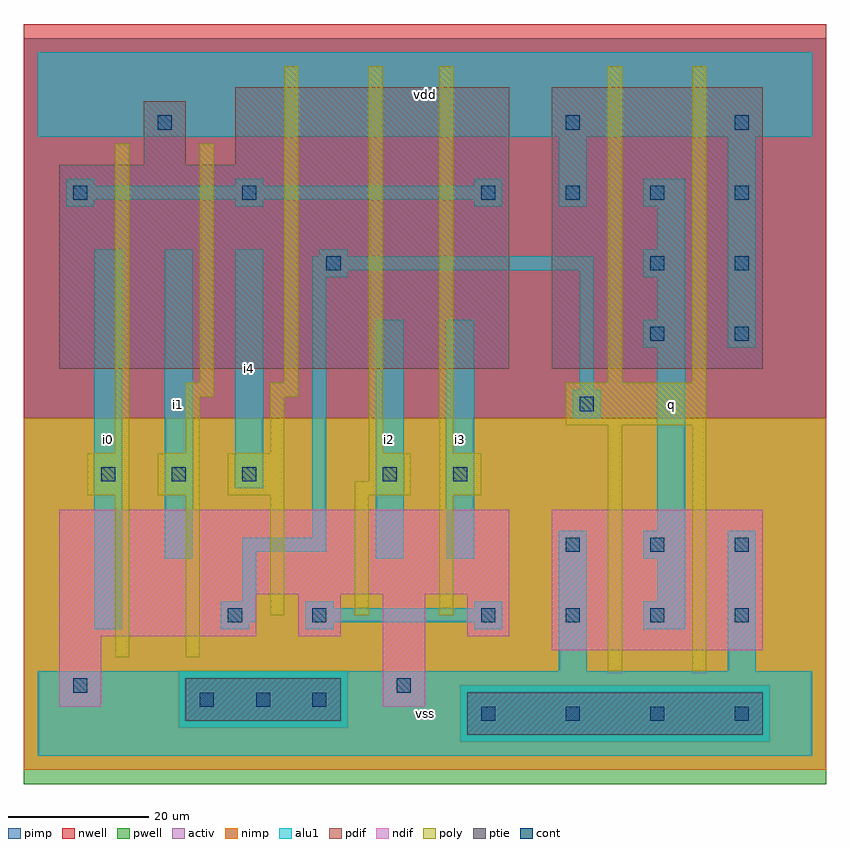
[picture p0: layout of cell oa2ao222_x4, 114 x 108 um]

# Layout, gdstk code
import gdstk
lib = gdstk.Library(unit=1e-6, precision=1e-09)
def R(c, l, rs):  # rectangles x0, y0, x1, y1
    for r in rs: c.add(gdstk.rectangle(r[:2], r[2:], *l))
def A(c, l, x, y, w, h, nx, ny, dx, dy):  # array of equal rectangles
    R(c, l, [(x+i*dx, y+j*dy, x+i*dx+w, y+j*dy+h) for i in range(nx) for j in range(ny)])
ndif = (3, 0)
pdif = (4, 0)
ptie = (6, 0)
cont = (25, 0)
pwell = (41, 0)
nwell = (42, 0)
activ = (43, 0)
pimp = (44, 0)
nimp = (45, 0)
poly = (46, 0)
alu1 = (49, 0)

oa2ao222_x4 = lib.new_cell('oa2ao222_x4')
R(oa2ao222_x4, ndif, [(3,7,9,17), (49,7,55,23), (73,15,103,35), (3,17,31,23), (37,17,43,23), (61,17,67,23), (3,23,67,35)])
R(oa2ao222_x4, pdif, [(3,55,67,84), (73,55,103,95), (15,84,21,93), (28,84,67,95)])
R(oa2ao222_x4, ptie, [(61,3,103,9), (21,5,43,11)])
A(oa2ao222_x4, cont, 63, 5, 2, 2, 4, 2, 12, 14)
A(oa2ao222_x4, cont, 23, 7, 2, 2, 3, 1, 8, 0)
A(oa2ao222_x4, cont, 75, 29, 2, 2, 3, 1, 12, 0)
A(oa2ao222_x4, cont, 9, 39, 2, 2, 3, 1, 10, 0)
A(oa2ao222_x4, cont, 63, 79, 2, 2, 4, 1, 12, 0)
R(oa2ao222_x4, cont, [(5,9,7,11), (51,9,53,11), (27,19,29,21), (39,19,41,21), (49,39,51,41), (59,39,61,41), (77,49,79,51), (87,59,89,61), (99,59,101,61), (41,69,43,71), (87,69,89,71), (99,69,101,71), (5,79,7,81), (29,79,31,81), (17,89,19,91), (75,89,77,91), (99,89,101,91)])
R(oa2ao222_x4, pwell, [(-2,-4,112,48)])
R(oa2ao222_x4, nwell, [(-2,48,112,104)])
R(oa2ao222_x4, activ, [(61,3,103,9), (21,5,43,11), (3,7,9,17), (49,7,55,23), (73,15,103,35), (3,17,31,23), (37,17,43,23), (61,17,67,23), (3,23,67,35), (3,55,67,84), (73,55,103,95), (15,84,21,93), (28,84,67,95)])
R(oa2ao222_x4, pimp, [(60,2,104,10), (20,4,44,12), (-2,48,112,102)])
R(oa2ao222_x4, nimp, [(-2,-2,112,2), (-2,2,60,4), (104,2,112,10), (-2,4,20,12), (44,4,60,10), (44,10,112,12), (-2,12,112,48)])
A(oa2ao222_x4, poly, 33, 20, 2, 17, 3, 1, 12, 0)
R(oa2ao222_x4, poly, [(81,12,83,47), (93,12,95,47), (11,14,13,37), (21,14,23,37), (7,37,13,43), (17,37,23,43), (27,37,35,43), (45,37,53,39), (57,37,63,43), (47,39,53,43), (11,43,13,87), (21,43,23,51), (33,43,35,51), (47,43,49,98), (57,43,59,98), (75,47,95,53), (21,51,25,53), (33,51,37,53), (23,53,25,87), (35,53,37,98), (81,53,83,98), (93,53,95,98)])
A(oa2ao222_x4, alu1, 86, 58, 6, 4, 1, 3, 0, 10)
R(oa2ao222_x4, alu1, [(0,0,110,12), (74,12,78,32), (98,12,102,32), (8,18,12,72), (26,18,30,19), (38,18,42,19), (62,18,66,19), (86,18,92,22), (26,19,31,22), (38,19,66,21), (38,21,42,22), (62,21,66,22), (29,22,31,29), (88,22,92,28), (18,28,22,72), (48,28,52,62), (58,28,62,62), (86,28,92,32), (29,29,41,31), (39,31,41,68), (88,32,92,58), (28,38,32,72), (76,48,80,52), (77,52,79,69), (98,58,102,88), (88,62,92,68), (39,68,44,69), (39,69,79,71), (40,71,44,72), (88,72,92,78), (4,78,8,79), (28,78,32,79), (62,78,66,79), (74,78,78,88), (4,79,66,81), (4,81,8,82), (28,81,32,82), (62,81,66,82), (0,88,110,100)])
oa2ao222_x4.add(gdstk.Label('i0', (10,45), layer=49, texttype=0))
oa2ao222_x4.add(gdstk.Label('i1', (20,50), layer=49, texttype=0))
oa2ao222_x4.add(gdstk.Label('i4', (30,55), layer=49, texttype=0))
oa2ao222_x4.add(gdstk.Label('vss', (55,6), layer=49, texttype=0))
oa2ao222_x4.add(gdstk.Label('i2', (50,45), layer=49, texttype=0))
oa2ao222_x4.add(gdstk.Label('i3', (60,45), layer=49, texttype=0))
oa2ao222_x4.add(gdstk.Label('vdd', (55,94), layer=49, texttype=0))
oa2ao222_x4.add(gdstk.Label('q', (90,50), layer=49, texttype=0))

lib.write_gds('oa2ao222_x4.gds')
